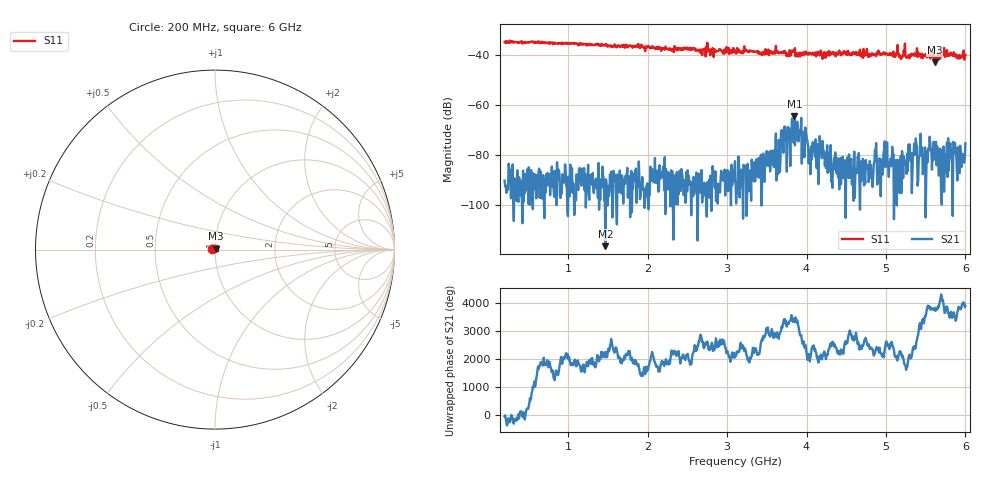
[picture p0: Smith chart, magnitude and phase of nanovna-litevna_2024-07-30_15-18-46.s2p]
! NanoVNA-App by OneOfEleven et al v1.1.209 (+OD15)
! Date: 2024-07-30 15:18:49
! Start: 200MHz Stop: 6GHz Points: 801
! S-Parameter data: F S11 S21 S12 S22
# Hz S RI R 50
!  Frequency  S11_Real  S11_Imag  S21_Real  S21_Imag  S12_Real  S12_Imag  S22_Real  S22_Imag
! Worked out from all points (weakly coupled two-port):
!   801 points, 200 MHz to 6 GHz, reference 50 ohm
!   highest |S21| = -64.38 dB at 3.847 GHz (marker M1); lowest = -116.4 dB at 1.469 GHz (marker M2)
!   lowest |S11| = -43.0 dB at 5.616 GHz (marker M3), VSWR 1.01, Z = 50.5 + j0.541 ohm
!   |S11| at or under -10 dB: start of sweep to end of sweep
!   S12 and S22 are empty: the file has one direction only
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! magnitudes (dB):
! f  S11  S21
! 200 MHz  -34.9  -90.2
! 1.171 GHz  -35.7  -85.4
! 1.469 GHz  -35.7  -116.4
! 2.136 GHz  -37.6  -94.7
! 3.1 GHz  -39.0  -82.4
! 3.571 GHz  -39.0  -78.7
! 3.651 GHz  -39.4  -73.9
! 3.709 GHz  -39.1  -79.1
! 3.767 GHz  -39.4  -68.7
! 3.789 GHz  -38.1  -74.3
! 3.847 GHz  -38.8  -64.4
! 3.905 GHz  -39.3  -69.9
! 3.948 GHz  -39.1  -70.5
! 4.072 GHz  -39.2  -77.5
! 4.398 GHz  -39.8  -88.9
! 4.985 GHz  -39.3  -74.5
! 5.036 GHz  -40.0  -88.7
! 5.616 GHz  -43.0  -78.9
! 5.717 GHz  -39.6  -82.1
! 5.877 GHz  -40.4  -79.4
! 5.964 GHz  -40.4  -79.5
! 6 GHz  -40.0  -75.3
